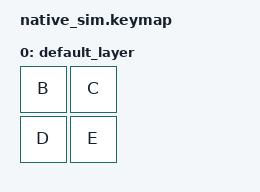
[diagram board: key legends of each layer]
#include <dt-bindings/zmk/keys.h>
#include <behaviors.dtsi>
#include <dt-bindings/zmk/input_mock.h>

/ {
    keymap {
        compatible = "zmk,keymap";

        default_layer {
            bindings = <
                &kp B &kp C
                &kp D &kp E
            >;
        };
    };
};

&mock_input {
    events = <
        ZMK_INPUT_MOCK_PRESS(0,0,10)
        ZMK_INPUT_MOCK_RELEASE(0,0,10)
    >;
};
